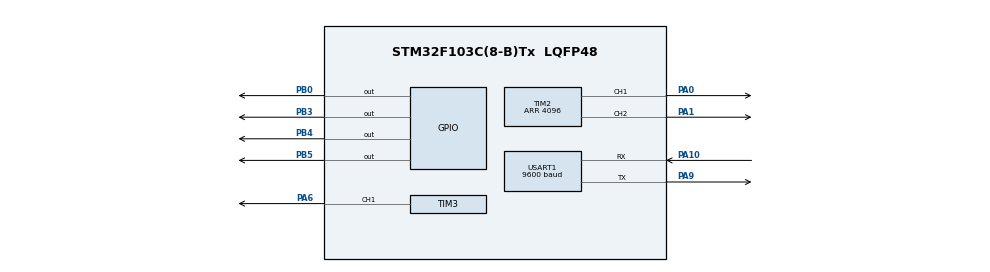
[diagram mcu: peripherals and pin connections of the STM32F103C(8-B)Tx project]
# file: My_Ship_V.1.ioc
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Dma.Request0=USART1_RX
Dma.Request1=USART1_TX
Dma.USART1_RX.0.Direction=DMA_PERIPH_TO_MEMORY
Dma.USART1_RX.0.Instance=DMA1_Channel5
Dma.USART1_RX.0.MemDataAlignment=DMA_MDATAALIGN_BYTE
Dma.USART1_RX.0.MemInc=DMA_MINC_ENABLE
Dma.USART1_RX.0.Mode=DMA_NORMAL
Dma.USART1_RX.0.PeriphDataAlignment=DMA_PDATAALIGN_BYTE
Dma.USART1_RX.0.PeriphInc=DMA_PINC_DISABLE
Dma.USART1_RX.0.Priority=DMA_PRIORITY_LOW
Dma.USART1_TX.1.Direction=DMA_MEMORY_TO_PERIPH
Dma.USART1_TX.1.Instance=DMA1_Channel4
Dma.USART1_TX.1.MemDataAlignment=DMA_MDATAALIGN_BYTE
Dma.USART1_TX.1.MemInc=DMA_MINC_ENABLE
Dma.USART1_TX.1.Mode=DMA_NORMAL
Dma.USART1_TX.1.PeriphDataAlignment=DMA_PDATAALIGN_BYTE
Dma.USART1_TX.1.PeriphInc=DMA_PINC_DISABLE
Dma.USART1_TX.1.Priority=DMA_PRIORITY_LOW
Mcu.Family=STM32F1
Mcu.Name=STM32F103C(8-B)Tx
Mcu.Package=LQFP48
NVIC.DMA1_Channel4_IRQn=true\:0\:0\:false\:false\:true\:false\:true
NVIC.DMA1_Channel5_IRQn=true\:0\:0\:false\:false\:true\:false\:true
NVIC.PriorityGroup=NVIC_PRIORITYGROUP_4
NVIC.USART1_IRQn=true\:0\:0\:false\:false\:true\:true\:true
PA0-WKUP.Signal=S_TIM2_CH1_ETR
PA1.Signal=S_TIM2_CH2
PA10.Mode=Asynchronous
PA10.Signal=USART1_RX
PA13.Mode=Serial_Wire
PA13.Signal=SYS_JTMS-SWDIO
PA14.Mode=Serial_Wire
PA14.Signal=SYS_JTCK-SWCLK
PA6.Signal=S_TIM3_CH1
PA9.Mode=Asynchronous
PA9.Signal=USART1_TX
PB0.GPIO_PuPd=GPIO_PULLUP
PB0.PinState=GPIO_PIN_SET
PB0.Signal=GPIO_Output
PB3.GPIO_PuPd=GPIO_PULLDOWN
PB3.PinState=GPIO_PIN_RESET
PB3.Signal=GPIO_Output
PB4.GPIO_PuPd=GPIO_PULLDOWN
PB4.Signal=GPIO_Output
PB5.GPIO_PuPd=GPIO_PULLDOWN
PB5.Signal=GPIO_Output
ProjectManager.HeapSize=0x200
ProjectManager.StackSize=0x400
ProjectManager.TargetToolchain=STM32CubeIDE
RCC.APB1Freq_Value=8000000
RCC.APB2Freq_Value=8000000
SH.S_TIM2_CH1_ETR.0=TIM2_CH1,PWM Generation1 CH1
SH.S_TIM2_CH2.0=TIM2_CH2,PWM Generation2 CH2
SH.S_TIM3_CH1.0=TIM3_CH1,PWM Generation1 CH1
TIM2.Channel-Output\ Compare3\ No\ Output=TIM_CHANNEL_3
TIM2.Channel-PWM\ Generation1\ CH1=TIM_CHANNEL_1
TIM2.Channel-PWM\ Generation2\ CH2=TIM_CHANNEL_2
TIM2.Period=4096
TIM3.Channel-PWM\ Generation1\ CH1=TIM_CHANNEL_1
TIM3.Period=2000
TIM3.Prescaler=80
USART1.BaudRate=9600
USART1.VirtualMode=VM_ASYNC
VP_TIM2_VS_no_output3.Mode=Output Compare3 No Output
VP_TIM3_VS_ClockSourceINT.Mode=Internal
board=custom

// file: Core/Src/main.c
/* USER CODE BEGIN Header */
/**
 ******************************************************************************
 * @file           : main.c
 * @brief          : Main program body
 ******************************************************************************
 * @attention
 *
 * <h2><center>&copy; Copyright (c) 2022 STMicroelectronics.
 * All rights reserved.</center></h2>
 *
 * This software component is licensed by ST under BSD 3-Clause license,
 * the "License"; You may not use this file except in compliance with the
 * License. You may obtain a copy of the License at:
 *                        opensource.org/licenses/BSD-3-Clause
 *
 ******************************************************************************
 */
/* USER CODE END Header */
#include "main.h"
#include "dma.h"
#include "tim.h"
#include "usart.h"
#include "gpio.h"

/* USER CODE BEGIN Includes */
#include "stdio.h"
#include "string.h"

#define min_PWM 2596
#define max_PWM 4096 - 1

#define min_PWM_angle 100
#define max_PWM_angle 250
#define middle_PWM_angle 168//175
#define min_PWM_angle 100

#define oneProcent  15
#define oneStep  0.25//0.75

#define adress_master_device 0x20
#define adress_pult 0x20
#define adress_ship 0x60

#define adress_hc_12 0xAA
#define adress_LED 0xB4
#define adress_engine 0xBE
#define adress_Servo 0xC8

#define adress_slave_index 0
#define adress_master_index 1
#define crc_adress_devices 2
#define end_array_index 50

/* USER CODE END Includes */

void SystemClock_Config(void);

/* USER CODE BEGIN 0 */

struct {
	volatile uint8_t timerEvent;
	volatile uint8_t dataReady;
	volatile uint8_t rxReady;
	volatile uint8_t txReady;
	volatile uint8_t rxSize;
	volatile uint8_t contact;
	volatile uint8_t counterError;
	volatile uint8_t Led;
	volatile uint8_t txSize;
	volatile uint8_t isCommand;

} flagEvent;

uint8_t StickPos[4] = { };
uint8_t transmitBuff[end_array_index] = { };
uint8_t reciveBuff[end_array_index] = { };
uint8_t adress_slave_device = 0;

void cleanTxArr() {
	for (uint8_t i = 0; i < end_array_index; i++) {
		transmitBuff[i] = 0xFF; // код стоп байта
	}
	transmitBuff[adress_slave_index] = adress_ship;
	transmitBuff[adress_master_index] = adress_master_device;

	transmitBuff[crc_adress_devices] = crc(transmitBuff, 2);    //crc
																// добавить проверку на правильность адреса и устройства
}

void cleanRxArr() {
	for (uint8_t i = 0; i < end_array_index; i++) {
		reciveBuff[i] = 0xFF; // код стоп байта
	}
	flagEvent.rxSize = 0;
}

uint8_t pushArrTX(uint8_t addres_module, uint8_t *pData, uint8_t size,
		uint8_t typeOperation) {
	uint8_t i = 0;
	while (transmitBuff[i] != 0xFF) { // найти конец полезных данных, не выходя за пределы массива.
		if (i < (end_array_index - (size + 5))) { //5 = адрес модуля, тип операции, crc, байт конца команды, стоп.
			i++;
		} else {
			return 1;
		}
	}
	transmitBuff[i] = addres_module;
	i++;
	transmitBuff[i] = typeOperation;
	i++;

	for (uint8_t index = i; index < (i + size); index++) {
		transmitBuff[index] = pData[index - i];
	}

	transmitBuff[i + size] = crc(transmitBuff + (i - 2), size + 2); // crc адреса и команды   2 = смещение назад для адреса модуля и типа команды.
	transmitBuff[i + size + 1] = 0xFC;  // конец команды
	transmitBuff[i + size + 2] = crc(transmitBuff, i + size + 2); // хеш отправки
	transmitBuff[i + size + 3] = 0xFF;  // стоп байт

	i = i + (size + 3) + 1;
	return i;

}

uint8_t changeSpeed(uint8_t speed, uint8_t direct) {

	if (direct == 0) {      //на месте
		TIM2->CCR1 = 0;
		TIM2->CCR2 = 0;
	}
	if (direct == 1) {		//вперед
		TIM2->CCR1 = 0;
		if (speed < 70)
			TIM2->CCR2 = min_PWM + (oneProcent * speed); // так должно быть в идеале

		if (speed >= 90) {
			speed = 80;						//ограничение:( срабатывает защита.
			if (TIM2->CCR2 <= min_PWM) {
				TIM2->CCR2 = min_PWM;
			}
			for (uint16_t i = TIM2->CCR2; i < (min_PWM + (oneProcent * speed));
					i = i + 10) {
				TIM2->CCR2 = i;
				HAL_Delay(2);
			}
		}
	}
	if (direct == 2) {           //назад
		TIM2->CCR1 = min_PWM + (oneProcent * speed);
		TIM2->CCR2 = 0;
	}
return direct;
}

uint8_t changeAngle(uint8_t angle_pwm, uint8_t direct) {
if (direct == 0) {
	TIM3->CCR1 = middle_PWM_angle;   //90 градусов

}
if (direct == 1) {				//направо
	TIM3->CCR1 = middle_PWM_angle - (oneStep * angle_pwm * 0.9); //    0 градусов.

}
if (direct == 2) {				//налево
	TIM3->CCR1 = (oneStep * angle_pwm) + middle_PWM_angle; //  180 градусов

}
return direct;
}

void read_air(void) {
HAL_UART_Receive(&huart1, StickPos, 4, HAL_MAX_DELAY);

changeSpeed(StickPos[0], StickPos[1]);
changeAngle(StickPos[2], StickPos[3]);
}

uint8_t crc(uint8_t *pData, uint8_t size) {
uint16_t crc = 0;
for (uint8_t i = 0; i < size; i++) {
	crc = crc + (pData[i] * 44111);
}
return (uint8_t) crc;

}

void direct_Led_HELLO() {
for (uint8_t i = 0; i < 6; i++) {
	HAL_GPIO_TogglePin(GPIOB, GPIO_PIN_3);
	HAL_GPIO_TogglePin(GPIOB, GPIO_PIN_4);
	HAL_GPIO_TogglePin(GPIOB, GPIO_PIN_5);
	HAL_Delay(300);
}
HAL_GPIO_WritePin(GPIOB, GPIO_PIN_3, RESET);
HAL_GPIO_WritePin(GPIOB, GPIO_PIN_4, RESET);
HAL_GPIO_WritePin(GPIOB, GPIO_PIN_5, RESET);
}

void direct_Led(uint8_t Red, uint8_t Green, uint8_t Blue) {
HAL_GPIO_WritePin(GPIOB, GPIO_PIN_3, Red);
HAL_GPIO_WritePin(GPIOB, GPIO_PIN_4, Green);
HAL_GPIO_WritePin(GPIOB, GPIO_PIN_5, Blue);
}

void connect_ok(void) {
direct_Led_HELLO();
}

void parseArrRX(uint8_t *pData, uint8_t size) {

if (reciveBuff[flagEvent.rxSize - 2] == crc(reciveBuff, flagEvent.rxSize - 2)) { //хеш сумма совпала

	if (flagEvent.contact == 1) {		//если уже поздоровались
		command_work();
	}

	if (flagEvent.contact == 0) { //если это приветствие
		if (reciveBuff[3] == adress_hc_12) {
			if (reciveBuff[5] == 0xc8) {
				flagEvent.contact = 1;
				connect_ok();
			}
		}
	}

}

if (reciveBuff[flagEvent.rxSize - 2] != crc(reciveBuff, flagEvent.rxSize - 2)) {

}   //хеш сумма не совпала

}

void initShip(void) {
flagEvent.timerEvent = 0;
flagEvent.dataReady = 0;
flagEvent.rxReady = 0;
flagEvent.txReady = 0;
flagEvent.rxSize = 0;
flagEvent.contact = 0;
flagEvent.counterError = 0;
flagEvent.Led = 0;
flagEvent.txSize = 0;
flagEvent.isCommand = 0;

cleanTxArr();
cleanRxArr();

//HAL_UARTEx_ReceiveToIdle_DMA(&huart1, reciveBuff, sizeof(reciveBuff));

HAL_TIM_PWM_Start(&htim2, TIM_CHANNEL_1);
HAL_TIM_PWM_Start(&htim2, TIM_CHANNEL_2);
HAL_TIM_PWM_Start(&htim3, TIM_CHANNEL_1);
}

void command_work(void) {
uint8_t i = 0;
while (reciveBuff[i] != 0xFF) {
	if (i > end_array_index)
		break;

	switch (reciveBuff[i]) {
	case adress_hc_12:
		i++;
		break;
	case adress_LED:
		direct_Led(reciveBuff[i + 2], reciveBuff[i + 3], reciveBuff[i + 4]);
		i = i + 7;
		break;
	case adress_engine:
		changeSpeed(reciveBuff[i + 2], reciveBuff[i + 3]);
		i = i + 5;
		break;
	case adress_Servo:
		changeAngle(reciveBuff[i + 2], reciveBuff[i + 3]);
		i = i + 5;
		break;
	default:
		i++;
		break;
	}

}
}

/* USER CODE END 0 */

int main(void) {

/* Reset of all peripherals, Initializes the Flash interface and the Systick. */
HAL_Init();

/* Configure the system clock */
SystemClock_Config();

/* Initialize all configured peripherals */
MX_GPIO_Init();
MX_TIM2_Init();
MX_USART1_UART_Init();
MX_DMA_Init();
MX_TIM3_Init();
/* USER CODE BEGIN 2 */

initShip();

/* USER CODE END 2 */

/* Infinite loop */
while (1) {

	/* USER CODE BEGIN 3 */
	if (flagEvent.contact == 0) {
		uint8_t ok = 0xc8;

		uint8_t sizeBuff = pushArrTX(adress_hc_12, &ok, 1, 1);
		HAL_UART_Transmit(&huart1, transmitBuff, sizeBuff, 100);
		HAL_UARTEx_ReceiveToIdle(&huart1, reciveBuff, (uint16_t) 50,
				(uint8_t*) &flagEvent.rxSize, 500);
		//HAL_Delay(500);
		if (flagEvent.rxSize != 0) {
			flagEvent.rxReady = 1;
		}

		cleanTxArr();
	}
	if (flagEvent.rxReady == 1) {
		flagEvent.rxReady = 0;
		parseArrRX(reciveBuff, flagEvent.rxSize);
		cleanRxArr();
		//HAL_UARTEx_ReceiveToIdle_DMA(&huart1, reciveBuff,					sizeof(reciveBuff));
	}

	if (flagEvent.contact == 1) {
		uint8_t a = flagEvent.contact;
		HAL_UARTEx_ReceiveToIdle(&huart1, reciveBuff, (uint16_t) 50,
				(uint8_t*) &flagEvent.rxSize, 100);
		flagEvent.contact = a;
		flagEvent.rxReady = 1;
		//command_work();
	}
	/* USER CODE END 3 */
}
}

void SystemClock_Config(void) {
RCC_OscInitTypeDef RCC_OscInitStruct = { 0 };
RCC_ClkInitTypeDef RCC_ClkInitStruct = { 0 };

/** Initializes the RCC Oscillators according to the specified parameters
 * in the RCC_OscInitTypeDef structure.
 */
RCC_OscInitStruct.OscillatorType = RCC_OSCILLATORTYPE_HSI;
RCC_OscInitStruct.HSIState = RCC_HSI_ON;
RCC_OscInitStruct.HSICalibrationValue =
RCC_HSICALIBRATION_DEFAULT;
RCC_OscInitStruct.PLL.PLLState = RCC_PLL_NONE;
if (HAL_RCC_OscConfig(&RCC_OscInitStruct) != HAL_OK) {
	Error_Handler();
}
/** Initializes the CPU, AHB and APB buses clocks
 */
RCC_ClkInitStruct.ClockType = RCC_CLOCKTYPE_HCLK | RCC_CLOCKTYPE_SYSCLK
		| RCC_CLOCKTYPE_PCLK1 | RCC_CLOCKTYPE_PCLK2;
RCC_ClkInitStruct.SYSCLKSource = RCC_SYSCLKSOURCE_HSI;
RCC_ClkInitStruct.AHBCLKDivider = RCC_SYSCLK_DIV1;
RCC_ClkInitStruct.APB1CLKDivider = RCC_HCLK_DIV1;
RCC_ClkInitStruct.APB2CLKDivider = RCC_HCLK_DIV1;

if (HAL_RCC_ClockConfig(&RCC_ClkInitStruct, FLASH_LATENCY_0) != HAL_OK) {
	Error_Handler();
}
}

/* USER CODE BEGIN 4 */

void HAL_UARTEx_RxEventCallback(UART_HandleTypeDef *huart, uint16_t Size) {
//HAL_UART_Transmit(&huart1, reciveBuff, Size, 100);
flagEvent.rxReady = 1;
flagEvent.rxSize = Size;
}

/* USER CODE END 4 */

void Error_Handler(void) {
__disable_irq();
while (1) {
}
}

/************************ (C) COPYRIGHT STMicroelectronics *****END OF FILE****/
